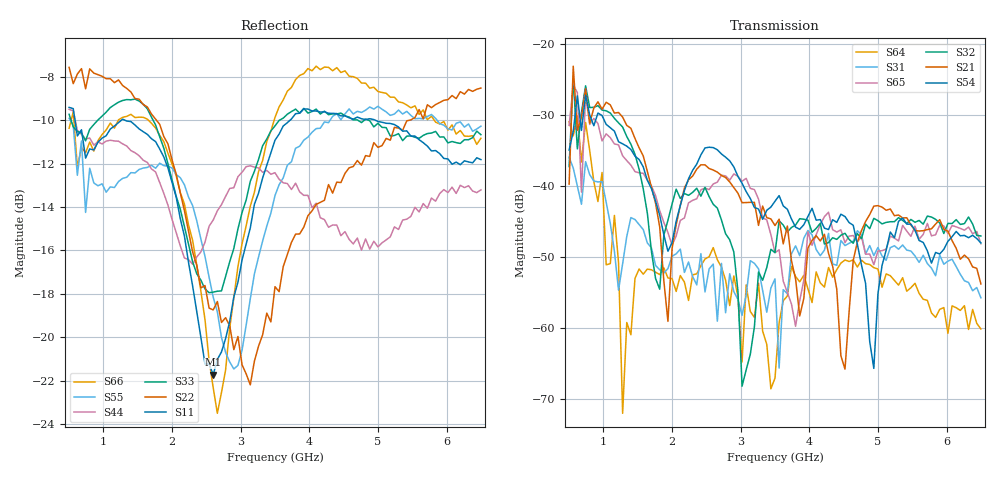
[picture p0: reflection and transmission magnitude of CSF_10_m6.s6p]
!Keysight Technologies,M9804A,MY58100912,A.14.10.03
!Date: Thursday, April 27, 2023 10:28:33
!Correction: S11(C  6-Port  )
!S12(C  6-Port  )
!S13(C  6-Port  )
!S14(C  6-Port  )
!S15(C  6-Port  )
!S16(C  6-Port  )
!S21(C  6-Port  )
!S22(C  6-Port  )
!S23(C  6-Port  )
!S24(C  6-Port  )
!S25(C  6-Port  )
!S26(C  6-Port  )
!S31(C  6-Port  )
!S32(C  6-Port  )
!S33(C  6-Port  )
!S34(C  6-Port  )
!S35(C  6-Port  )
!S36(C  6-Port  )
!S41(C  6-Port  )
!S42(C  6-Port  )
!S43(C  6-Port  )
!S44(C  6-Port  )
!S45(C  6-Port  )
!S46(C  6-Port  )
!S51(C  6-Port  )
!S52(C  6-Port  )
!S53(C  6-Port  )
!S54(C  6-Port  )
!S55(C  6-Port  )
!S56(C  6-Port  )
!S61(C  6-Port  )
!S62(C  6-Port  )
!S63(C  6-Port  )
!S64(C  6-Port  )
!S65(C  6-Port  )
!S66(C  6-Port  )
!S6P File: Measurement: :
# Hz S  RI  R 50
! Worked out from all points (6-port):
!   101 points, 500 MHz to 6.5 GHz, reference 50 ohm
!   strongest paths, dB at 500 MHz, 2 GHz, 3.5 GHz, 5 GHz, 6.5 GHz:
!     S54: -34.9, -47.9, -42.1, -55.1, -48.0
!     S21: -39.7, -48.8, -45.5, -42.7, -53.7
!     S32: -37.2, -42.5, -49.3, -44.8, -47.0
!     S65: -31.4, -48.3, -49.3, -49.1, -48.1
!     S31: -35.9, -49.9, -53.0, -48.6, -55.7
!     S64: -30.9, -53.0, -67.0, -51.6, -60.1
!   lowest |S11| = -21.7 dB at 2.6 GHz (marker M1), VSWR 1.18, Z = 42.7 + j1.97 ohm
!   |S11| at or under -10 dB: 585.2 MHz to 1.264 GHz (678.7 MHz wide, 73.4 % of centre); 1.309 GHz to 3.721 GHz (2.412 GHz wide, 95.9 % of centre); 4.958 GHz to end of sweep
